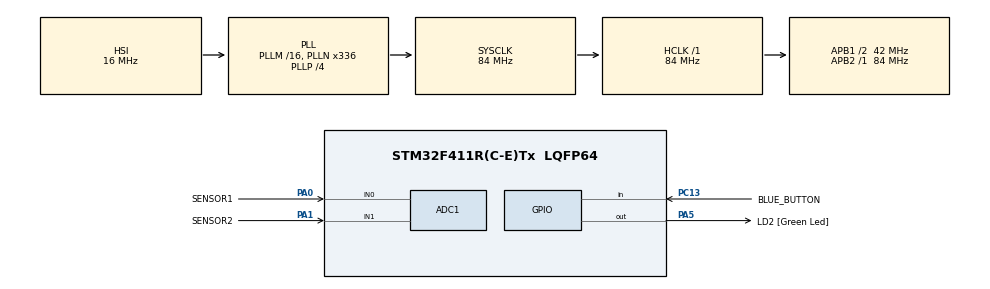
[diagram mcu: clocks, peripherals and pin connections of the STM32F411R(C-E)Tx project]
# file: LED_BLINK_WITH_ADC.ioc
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ADC1.Channel-0\#ChannelRegularConversion=ADC_CHANNEL_0
ADC1.NbrOfConversionFlag=1
ADC1.Rank-0\#ChannelRegularConversion=1
ADC1.SamplingTime-0\#ChannelRegularConversion=ADC_SAMPLETIME_3CYCLES
ADC1.master=1
Mcu.Family=STM32F4
Mcu.Name=STM32F411R(C-E)Tx
Mcu.Package=LQFP64
NVIC.PriorityGroup=NVIC_PRIORITYGROUP_0
PA0-WKUP.GPIO_Label=SENSOR1
PA0-WKUP.Signal=ADCx_IN0
PA1.GPIO_Label=SENSOR2
PA1.Signal=ADCx_IN1
PA13.GPIO_Label=TMS
PA13.Signal=SYS_JTMS-SWDIO
PA3.GPIO_Label=USART_RX
PA3.Signal=USART2_RX
PA5.GPIO_Label=LD2 [Green Led]
PA5.PinState=GPIO_PIN_SET
PA5.Signal=GPIO_Output
PB3.GPIO_Label=SWO
PB3.Signal=SYS_JTDO-SWO
PC13-ANTI_TAMP.GPIO_Label=BLUE_BUTTON
PC13-ANTI_TAMP.GPIO_PuPd=GPIO_PULLUP
PC13-ANTI_TAMP.Signal=GPIO_Input
PC15-OSC32_OUT.Signal=RCC_OSC32_OUT
PH1\ -\ OSC_OUT.Signal=RCC_OSC_OUT
ProjectManager.HeapSize=0x200
ProjectManager.StackSize=0x400
ProjectManager.TargetToolchain=STM32CubeIDE
RCC.48MHZClocksFreq_Value=84000000
RCC.AHBFreq_Value=84000000
RCC.APB1CLKDivider=RCC_HCLK_DIV2
RCC.APB1Freq_Value=42000000
RCC.APB1TimFreq_Value=84000000
RCC.APB2Freq_Value=84000000
RCC.APB2TimFreq_Value=84000000
RCC.CortexFreq_Value=84000000
RCC.FLatency-AdvancedSettings=FLASH_LATENCY_2
RCC.HCLKFreq_Value=84000000
RCC.HSE_VALUE=8000000
RCC.HSI_VALUE=16000000
RCC.LSE_VALUE=32768
RCC.PLLN=336
RCC.PLLP=RCC_PLLP_DIV4
RCC.SYSCLKFreq_VALUE=84000000
RCC.SYSCLKSource=RCC_SYSCLKSOURCE_PLLCLK
RCC.VCOOutputFreq_Value=336000000
SH.ADCx_IN0.0=ADC1_IN0,IN0
SH.ADCx_IN1.0=ADC1_IN1,IN1
board=NUCLEO-F411RE

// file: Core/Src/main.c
/* USER CODE BEGIN Header */
/**
  ******************************************************************************
  * @file           : main.c
  * @brief          : Main program body
  ******************************************************************************
  * @attention
  *
  * <h2><center>&copy; Copyright (c) 2022 STMicroelectronics.
  * All rights reserved.</center></h2>
  *
  * This software component is licensed by ST under BSD 3-Clause license,
  * the "License"; You may not use this file except in compliance with the
  * License. You may obtain a copy of the License at:
  *                        opensource.org/licenses/BSD-3-Clause
  *
  ******************************************************************************
  */
/* USER CODE END Header */
#include "main.h"
#include "adc.h"
#include "gpio.h"

/* USER CODE BEGIN Includes */

#include <string.h>
#include <stdlib.h>

/* USER CODE END Includes */

void SystemClock_Config(void);

int main(void)
{

  /* MCU Configuration--------------------------------------------------------*/

  /* Reset of all peripherals, Initializes the Flash interface and the Systick. */
  HAL_Init();

  /* Configure the system clock */
  SystemClock_Config();

  /* Initialize all configured peripherals */
  MX_GPIO_Init();
  MX_ADC1_Init();

  /* Infinite loop */
  /* USER CODE BEGIN WHILE */

  uint16_t sensor1;
  uint16_t off_time;
  char blue_button_state;

  while (1)
  {
	  sensor1= MISA_ReadADC(0); //sensor is connected to channel 0 (AN0)

	  blue_button_state= HAL_GPIO_ReadPin(BLUE_BUTTON_GPIO_Port, BLUE_BUTTON_Pin);
	  if ( blue_button_state == 1 ) // Blinks fixed 500ms on - 500ms off
	  {
		  HAL_GPIO_TogglePin(LD2_GPIO_Port, LD2_Pin); // Muda o estado do pino
		  HAL_Delay(500);
	  }
	  else // Blinks 500ms on and off time is variable according analog value
	  {
		  HAL_GPIO_WritePin(LD2_GPIO_Port, LD2_Pin, GPIO_PIN_SET); // Força o pino ao estado "1"
		  HAL_Delay(500);
		  HAL_GPIO_WritePin(LD2_GPIO_Port, LD2_Pin, GPIO_PIN_RESET); // Força o pino ao estado "0"

		  off_time= 100 + sensor1/2;
		  HAL_Delay( off_time); //Espera sem fazer nada durante 1000 milisegundos
	  }

	  //Faz qualquer coisa com os valores e o resto do que tiver que ser feito...

    /* USER CODE END WHILE */

  }
}

void SystemClock_Config(void)
{
  RCC_OscInitTypeDef RCC_OscInitStruct = {0};
  RCC_ClkInitTypeDef RCC_ClkInitStruct = {0};

  /** Configure the main internal regulator output voltage
  */
  __HAL_RCC_PWR_CLK_ENABLE();
  __HAL_PWR_VOLTAGESCALING_CONFIG(PWR_REGULATOR_VOLTAGE_SCALE1);

  /** Initializes the RCC Oscillators according to the specified parameters
  * in the RCC_OscInitTypeDef structure.
  */
  RCC_OscInitStruct.OscillatorType = RCC_OSCILLATORTYPE_HSI;
  RCC_OscInitStruct.HSIState = RCC_HSI_ON;
  RCC_OscInitStruct.HSICalibrationValue = RCC_HSICALIBRATION_DEFAULT;
  RCC_OscInitStruct.PLL.PLLState = RCC_PLL_ON;
  RCC_OscInitStruct.PLL.PLLSource = RCC_PLLSOURCE_HSI;
  RCC_OscInitStruct.PLL.PLLM = 16;
  RCC_OscInitStruct.PLL.PLLN = 336;
  RCC_OscInitStruct.PLL.PLLP = RCC_PLLP_DIV4;
  RCC_OscInitStruct.PLL.PLLQ = 4;
  if (HAL_RCC_OscConfig(&RCC_OscInitStruct) != HAL_OK)
  {
    Error_Handler();
  }

  /** Initializes the CPU, AHB and APB buses clocks
  */
  RCC_ClkInitStruct.ClockType = RCC_CLOCKTYPE_HCLK|RCC_CLOCKTYPE_SYSCLK
                              |RCC_CLOCKTYPE_PCLK1|RCC_CLOCKTYPE_PCLK2;
  RCC_ClkInitStruct.SYSCLKSource = RCC_SYSCLKSOURCE_PLLCLK;
  RCC_ClkInitStruct.AHBCLKDivider = RCC_SYSCLK_DIV1;
  RCC_ClkInitStruct.APB1CLKDivider = RCC_HCLK_DIV2;
  RCC_ClkInitStruct.APB2CLKDivider = RCC_HCLK_DIV1;

  if (HAL_RCC_ClockConfig(&RCC_ClkInitStruct, FLASH_LATENCY_2) != HAL_OK)
  {
    Error_Handler();
  }
}

void Error_Handler(void)
{
  __disable_irq();
  while (1)
  {
  }
}
